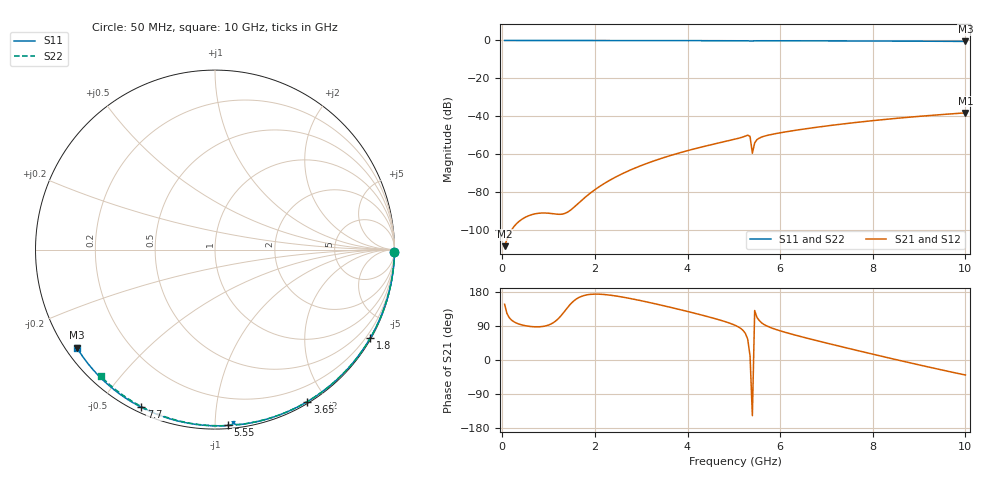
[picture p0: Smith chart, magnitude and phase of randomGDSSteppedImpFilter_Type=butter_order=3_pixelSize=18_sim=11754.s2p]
! freq	dB(S11)	phase(S11)	dB(S12)	phase(S12)
!  dB(S21)	phase(S21)	dB(S22)	phase(S22)
!S-par simulation data
#  GHz  S  DB  R 50
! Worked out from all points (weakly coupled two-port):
!   200 points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, 50 MHz to 10 GHz, reference 50 ohm
!   highest |S21| = -38.17 dB at 10 GHz (marker M1); lowest = -108.4 dB at 50 MHz (marker M2)
!   lowest |S11| = -0.5 dB at 10 GHz (marker M3), VSWR 34.57, Z = 1.59 - j15.9 ohm
!   |S11| at or under -10 dB: nowhere
!   |S22| runs from -0.4 to 0.0 dB; largest |S21 - S12| = 0
!   S11 on the Smith chart (normalised r, x): 50 MHz: open; 1.8 GHz: 0.03, -3.77; 3.65 GHz: 0.02, -1.78; 5.55 GHz: 0.02, -1.07; 7.7 GHz: 0.02, -0.64; 10 GHz: 0.03, -0.32
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0.05  -0.00 -0.8  -108.45 147.1  -108.45 147.1  -0.00 -0.8
0.9  -0.02 -15.0  -90.94 89.1  -90.94 89.1  -0.02 -13.7
1.75  -0.04 -28.9  -83.50 169.6  -83.50 169.6  -0.03 -26.3
1.8  -0.04 -29.7  -82.45 171.2  -82.45 171.2  -0.03 -27.0
1.95  -0.04 -32.1  -79.55 173.6  -79.55 173.6  -0.04 -29.2
2.25  -0.05 -36.9  -74.69 172.2  -74.69 172.2  -0.04 -33.6
2.6  -0.05 -42.5  -70.15 166.0  -70.15 166.0  -0.05 -38.7
2.95  -0.06 -47.9  -66.42 157.7  -66.42 157.7  -0.06 -43.7
3.4  -0.07 -54.9  -62.44 145.6  -62.44 145.6  -0.07 -50.1
3.65  -0.08 -58.7  -60.52 138.5  -60.52 138.5  -0.07 -53.6
5.05  -0.12 -79.4  -51.89 90.3  -51.89 90.3  -0.11 -72.5
5.3  -0.18 -83.5  -49.94 54.7  -49.94 54.7  -0.12 -75.8
5.35  -0.32 -84.3  -50.58 10.8  -50.58 10.8  -0.12 -76.4
5.4  -0.32 -83.4  -59.45 -146.8  -59.45 -146.8  -0.13 -77.0
5.45  -0.20 -84.2  -54.00 130.6  -54.00 130.6  -0.13 -77.7
5.5  -0.17 -85.1  -52.25 112.1  -52.25 112.1  -0.13 -78.3
5.55  -0.16 -85.9  -51.49 104.1  -51.49 104.1  -0.13 -79.0
5.9  -0.16 -91.0  -49.13 80.9  -49.13 80.9  -0.14 -83.4
6.7  -0.20 -101.9  -46.05 53.9  -46.05 53.9  -0.18 -93.4
7.7  -0.27 -115.0  -43.05 24.1  -43.05 24.1  -0.24 -105.5
8.35  -0.32 -123.4  -41.42 5.3  -41.42 5.3  -0.29 -113.1
10  -0.50 -144.6  -38.17 -39.6  -38.17 -39.6  -0.45 -132.0
